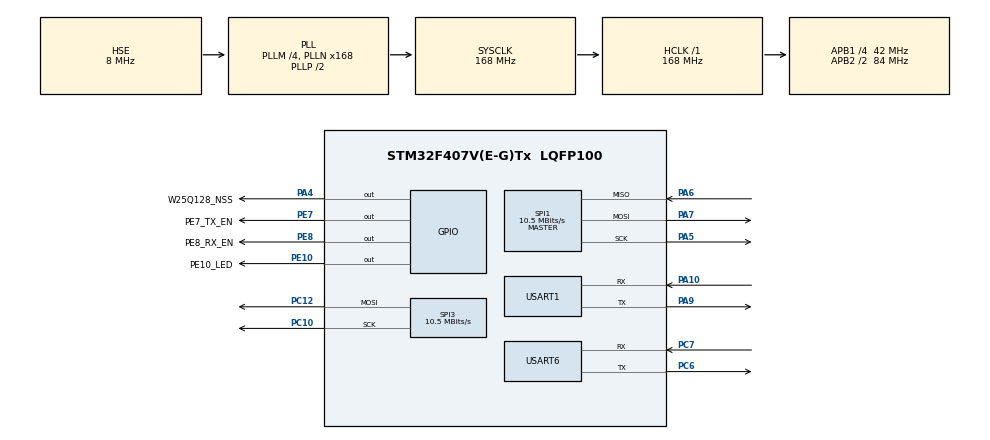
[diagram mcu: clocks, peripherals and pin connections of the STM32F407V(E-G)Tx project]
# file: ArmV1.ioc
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Dma.Request0=SPI3_TX
Dma.SPI3_TX.0.Direction=DMA_MEMORY_TO_PERIPH
Dma.SPI3_TX.0.FIFOMode=DMA_FIFOMODE_DISABLE
Dma.SPI3_TX.0.Instance=DMA1_Stream5
Dma.SPI3_TX.0.MemDataAlignment=DMA_MDATAALIGN_HALFWORD
Dma.SPI3_TX.0.MemInc=DMA_MINC_ENABLE
Dma.SPI3_TX.0.Mode=DMA_NORMAL
Dma.SPI3_TX.0.PeriphDataAlignment=DMA_PDATAALIGN_HALFWORD
Dma.SPI3_TX.0.PeriphInc=DMA_PINC_DISABLE
Dma.SPI3_TX.0.Priority=DMA_PRIORITY_LOW
FREERTOS.Tasks01=debugTask,8,512,StartDefaultTask,Default,NULL,Dynamic,NULL,NULL
FREERTOS.configENABLE_FPU=1
FREERTOS.configTOTAL_HEAP_SIZE=20480
Mcu.Family=STM32F4
Mcu.Name=STM32F407V(E-G)Tx
Mcu.Package=LQFP100
NVIC.DMA1_Stream5_IRQn=true\:5\:0\:false\:false\:true\:true\:false\:true\:true
NVIC.PriorityGroup=NVIC_PRIORITYGROUP_4
NVIC.TIM1_UP_TIM10_IRQn=true\:15\:0\:false\:false\:true\:false\:false\:true\:true
NVIC.TimeBase=TIM1_UP_TIM10_IRQn
NVIC.TimeBaseIP=TIM1
NVIC.USART1_IRQn=true\:5\:0\:false\:false\:true\:true\:true\:true\:true
NVIC.USART6_IRQn=true\:5\:0\:false\:false\:true\:true\:true\:true\:true
PA10.Mode=Asynchronous
PA10.Signal=USART1_RX
PA4.GPIO_Label=W25Q128_NSS
PA4.GPIO_Speed=GPIO_SPEED_FREQ_VERY_HIGH
PA4.Signal=GPIO_Output
PA5.Mode=Full_Duplex_Master
PA5.Signal=SPI1_SCK
PA6.Mode=Full_Duplex_Master
PA6.Signal=SPI1_MISO
PA7.Mode=Full_Duplex_Master
PA7.Signal=SPI1_MOSI
PA9.Mode=Asynchronous
PA9.Signal=USART1_TX
PC10.Mode=TX_Only_Simplex_Unidirect_Master
PC10.Signal=SPI3_SCK
PC12.Mode=TX_Only_Simplex_Unidirect_Master
PC12.Signal=SPI3_MOSI
PC6.Mode=Asynchronous
PC6.Signal=USART6_TX
PC7.Mode=Asynchronous
PC7.Signal=USART6_RX
PE10.GPIO_Label=PE10_LED
PE10.Signal=GPIO_Output
PE7.GPIO_Label=PE7_TX_EN
PE7.Signal=GPIO_Output
PE8.GPIO_Label=PE8_RX_EN
PE8.Signal=GPIO_Output
PH0-OSC_IN.Mode=HSE-External-Oscillator
PH0-OSC_IN.Signal=RCC_OSC_IN
PH1-OSC_OUT.Mode=HSE-External-Oscillator
PH1-OSC_OUT.Signal=RCC_OSC_OUT
ProjectManager.HeapSize=0x200
ProjectManager.StackSize=0x400
ProjectManager.TargetToolchain=MDK-ARM V5.32
RCC.48MHZClocksFreq_Value=84000000
RCC.AHBFreq_Value=168000000
RCC.APB1CLKDivider=RCC_HCLK_DIV4
RCC.APB1Freq_Value=42000000
RCC.APB1TimFreq_Value=84000000
RCC.APB2CLKDivider=RCC_HCLK_DIV2
RCC.APB2Freq_Value=84000000
RCC.APB2TimFreq_Value=168000000
RCC.CortexFreq_Value=168000000
RCC.HCLKFreq_Value=168000000
RCC.HSE_VALUE=8000000
RCC.HSI_VALUE=16000000
RCC.LSE_VALUE=32768
RCC.PLLM=4
RCC.PLLN=168
RCC.PLLSourceVirtual=RCC_PLLSOURCE_HSE
RCC.SYSCLKFreq_VALUE=168000000
RCC.SYSCLKSource=RCC_SYSCLKSOURCE_PLLCLK
RCC.VCOOutputFreq_Value=336000000
SPI1.BaudRatePrescaler=SPI_BAUDRATEPRESCALER_8
SPI1.CLKPhase=SPI_PHASE_2EDGE
SPI1.CLKPolarity=SPI_POLARITY_HIGH
SPI1.CalculateBaudRate=10.5 MBits/s
SPI1.Direction=SPI_DIRECTION_2LINES
SPI1.Mode=SPI_MODE_MASTER
SPI1.VirtualType=VM_MASTER
SPI3.BaudRatePrescaler=SPI_BAUDRATEPRESCALER_4
SPI3.CLKPhase=SPI_PHASE_1EDGE
SPI3.CLKPolarity=SPI_POLARITY_LOW
SPI3.CalculateBaudRate=10.5 MBits/s
SPI3.DataSize=SPI_DATASIZE_16BIT
SPI3.Direction=SPI_DIRECTION_2LINES
SPI3.Mode=SPI_MODE_MASTER
SPI3.VirtualType=VM_MASTER
USART1.VirtualMode=VM_ASYNC
USART6.VirtualMode=VM_ASYNC
VP_FREERTOS_VS_CMSIS_V2.Mode=CMSIS_V2
VP_SYS_VS_tim1.Mode=TIM1
board=custom

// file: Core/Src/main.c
/* USER CODE BEGIN Header */
/**
  ******************************************************************************
  * @file           : main.c
  * @brief          : Main program body
  ******************************************************************************
  * @attention
  *
  * Copyright (c) 2025 STMicroelectronics.
  * All rights reserved.
  *
  * This software is licensed under terms that can be found in the LICENSE file
  * in the root directory of this software component.
  * If no LICENSE file comes with this software, it is provided AS-IS.
  *
  ******************************************************************************
  */
/* USER CODE END Header */
#include "main.h"
#include "cmsis_os.h"
#include "dma.h"
#include "spi.h"
#include "usart.h"
#include "gpio.h"

/* USER CODE BEGIN Includes */
#include "stdio.h"
#include  "semphr.h"
#include "arm_robot.h"
#include "w2812.h"
/* USER CODE END Includes */

void SystemClock_Config(void);
void MX_FREERTOS_Init(void);

/* USER CODE BEGIN 0 */
int fputc(int ch, FILE *F)
    {
        HAL_UART_Transmit(&huart1,(uint8_t *)&ch,1,10);
          return ch;
    }
/* USER CODE END 0 */

int main(void)
{

  /* MCU Configuration--------------------------------------------------------*/

  /* Reset of all peripherals, Initializes the Flash interface and the Systick. */
  HAL_Init();

  /* Configure the system clock */
  SystemClock_Config();

  /* Initialize all configured peripherals */
  MX_GPIO_Init();
  MX_DMA_Init();
  MX_USART1_UART_Init();
  MX_USART6_UART_Init();
  MX_SPI1_Init();
  MX_SPI3_Init();

  /* Init scheduler */
  osKernelInitialize();  /* Call init function for freertos objects (in cmsis_os2.c) */
  MX_FREERTOS_Init();

  /* Start scheduler */
  osKernelStart();

  /* We should never get here as control is now taken by the scheduler */

  /* Infinite loop */
  while (1)
  {

  }
}

void SystemClock_Config(void)
{
  RCC_OscInitTypeDef RCC_OscInitStruct = {0};
  RCC_ClkInitTypeDef RCC_ClkInitStruct = {0};

  /** Configure the main internal regulator output voltage
  */
  __HAL_RCC_PWR_CLK_ENABLE();
  __HAL_PWR_VOLTAGESCALING_CONFIG(PWR_REGULATOR_VOLTAGE_SCALE1);

  /** Initializes the RCC Oscillators according to the specified parameters
  * in the RCC_OscInitTypeDef structure.
  */
  RCC_OscInitStruct.OscillatorType = RCC_OSCILLATORTYPE_HSE;
  RCC_OscInitStruct.HSEState = RCC_HSE_ON;
  RCC_OscInitStruct.PLL.PLLState = RCC_PLL_ON;
  RCC_OscInitStruct.PLL.PLLSource = RCC_PLLSOURCE_HSE;
  RCC_OscInitStruct.PLL.PLLM = 4;
  RCC_OscInitStruct.PLL.PLLN = 168;
  RCC_OscInitStruct.PLL.PLLP = RCC_PLLP_DIV2;
  RCC_OscInitStruct.PLL.PLLQ = 4;
  if (HAL_RCC_OscConfig(&RCC_OscInitStruct) != HAL_OK)
  {
    Error_Handler();
  }

  /** Initializes the CPU, AHB and APB buses clocks
  */
  RCC_ClkInitStruct.ClockType = RCC_CLOCKTYPE_HCLK|RCC_CLOCKTYPE_SYSCLK
                              |RCC_CLOCKTYPE_PCLK1|RCC_CLOCKTYPE_PCLK2;
  RCC_ClkInitStruct.SYSCLKSource = RCC_SYSCLKSOURCE_PLLCLK;
  RCC_ClkInitStruct.AHBCLKDivider = RCC_SYSCLK_DIV1;
  RCC_ClkInitStruct.APB1CLKDivider = RCC_HCLK_DIV4;
  RCC_ClkInitStruct.APB2CLKDivider = RCC_HCLK_DIV2;

  if (HAL_RCC_ClockConfig(&RCC_ClkInitStruct, FLASH_LATENCY_5) != HAL_OK)
  {
    Error_Handler();
  }
}

void HAL_TIM_PeriodElapsedCallback(TIM_HandleTypeDef *htim)
{
  if (htim->Instance == TIM1)
  {
    HAL_IncTick();
  }
}

void Error_Handler(void)
{
  __disable_irq();
  while (1)
  {
  }
}
#ifdef USE_FULL_ASSERT
/**
  * @brief  Reports the name of the source file and the source line number
  *         where the assert_param error has occurred.
  * @param  file: pointer to the source file name
  * @param  line: assert_param error line source number
  * @retval None
  */
void assert_failed(uint8_t *file, uint32_t line)
{
  /* USER CODE BEGIN 6 */
  /* User can add his own implementation to report the file name and line number,
     ex: safe_printf("Wrong parameters value: file %s on line %d\r\n", file, line) */
  /* USER CODE END 6 */
}
#endif /* USE_FULL_ASSERT */

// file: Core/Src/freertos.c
/* USER CODE BEGIN Header */
/**
  ******************************************************************************
  * File Name          : freertos.c
  * Description        : Code for freertos applications
  ******************************************************************************
  * @attention
  *
  * Copyright (c) 2025 STMicroelectronics.
  * All rights reserved.
  *
  * This software is licensed under terms that can be found in the LICENSE file
  * in the root directory of this software component.
  * If no LICENSE file comes with this software, it is provided AS-IS.
  *
  ******************************************************************************
  */
/* USER CODE END Header */

#include "FreeRTOS.h"
#include "task.h"
#include "main.h"
#include "cmsis_os.h"

/* USER CODE BEGIN Includes */
#include "arm_monitor.h"
#include "arm_robot.h"
#include "w2812.h"
/* USER CODE END Includes */

/* USER CODE BEGIN PM */
extern char cmd_buf[128];//用于保存串口接收到的命令
int flag=0;//串口是否接收到数据的标志
/* USER CODE END PM */

/* Definitions for debugTask */
osThreadId_t debugTaskHandle;
const osThreadAttr_t debugTask_attributes = {
  .name = "debugTask",
  .stack_size = 512 * 4,
  .priority = (osPriority_t) osPriorityLow,
};

void StartDefaultTask(void *argument);

void MX_FREERTOS_Init(void); /* (MISRA C 2004 rule 8.1) */

void MX_FREERTOS_Init(void) {

  /* Create the thread(s) */
  /* creation of debugTask */
  debugTaskHandle = osThreadNew(StartDefaultTask, NULL, &debugTask_attributes);

}

void StartDefaultTask(void *argument)
{
  /* USER CODE BEGIN StartDefaultTask */
  /* Infinite loop */
  arm_robot_init();
  arm_monitor_set_task_handle(debugTaskHandle);
  GPIO_PinState pin_state = GPIO_PIN_RESET;

  for(;;)
  {
    uint32_t monitor_delay_ms;

		HAL_GPIO_WritePin(GPIOE,GPIO_PIN_10,pin_state);
    arm_monitor();
		pin_state = (pin_state == GPIO_PIN_RESET) ? GPIO_PIN_SET : GPIO_PIN_RESET;
    monitor_delay_ms = arm_monitor_get_next_delay_ms();
    (void)osThreadFlagsWait(ARM_MONITOR_WAKE_FLAG, osFlagsWaitAny, monitor_delay_ms);
  }
  /* USER CODE END StartDefaultTask */
}
